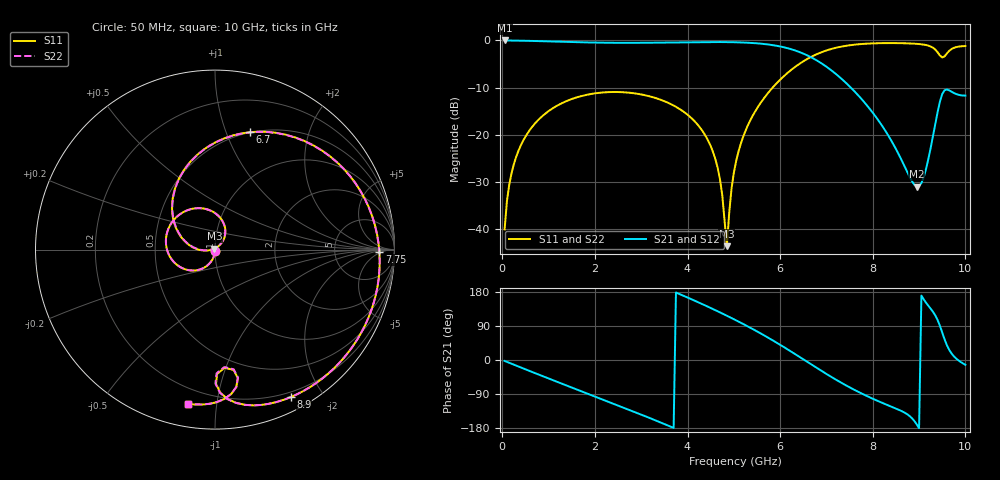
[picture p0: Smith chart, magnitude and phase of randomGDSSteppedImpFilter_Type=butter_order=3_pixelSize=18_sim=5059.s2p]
! freq	dB(S11)	phase(S11)	dB(S12)	phase(S12)
!  dB(S21)	phase(S21)	dB(S22)	phase(S22)
!S-par simulation data
#  GHz  S  DB  R 50
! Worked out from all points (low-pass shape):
!   200 points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, 50 MHz to 10 GHz, reference 50 ohm
!   highest |S21| = 0.00 dB at 50 MHz (marker M1); lowest = -31.0 dB at 8.95 GHz (marker M2)
!   |S21| within 3 dB of the highest: start of sweep to 6.551 GHz
!   lowest |S11| = -43.5 dB at 4.85 GHz (marker M3), VSWR 1.01, Z = 49.6 + j0.54 ohm
!   |S11| at or under -10 dB: start of sweep to 5.836 GHz
!   |S22| runs from -41.9 to -0.6 dB; largest |S21 - S12| = 0
!   S11 on the Smith chart (normalised r, x): 50 MHz: 1.00, -0.02; 6.7 GHz: 0.50, +1.21; 7.75 GHz: 22, -4; 8.9 GHz: 0.15, -1.63; 10 GHz: 0.12, -0.84
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0.05  -40.01 -92.2  -0.00 -2.5  -0.00 -2.5  -40.01 -92.2
0.2  -28.08 -100.1  -0.02 -9.9  -0.02 -9.9  -28.08 -100.1
0.5  -20.36 -115.2  -0.07 -24.6  -0.07 -24.6  -20.36 -115.2
1.75  -11.67 -175.3  -0.40 -84.4  -0.40 -84.4  -11.67 -175.2
2.55  -10.93 146.9  -0.51 -122.3  -0.51 -122.3  -10.93 147.0
3.4  -12.49 105.5  -0.46 -163.9  -0.46 -163.9  -12.49 105.7
4.5  -22.36 49.7  -0.34 137.3  -0.34 137.3  -22.36 50.6
4.7  -29.36 43.8  -0.34 125.7  -0.34 125.7  -29.30 46.1
4.85  -43.55 125.1  -0.35 116.8  -0.35 116.8  -41.94 124.0
4.95  -31.36 -174.2  -0.37 110.7  -0.37 110.7  -31.23 -177.3
5.05  -25.51 -174.0  -0.39 104.6  -0.39 104.6  -25.47 -175.7
5.4  -16.07 167.9  -0.54 82.2  -0.54 82.2  -16.06 167.2
6  -8.31 127.1  -1.27 40.1  -1.27 40.1  -8.30 126.8
6.7  -3.33 73.6  -3.73 -13.9  -3.73 -13.9  -3.33 73.4
7.15  -1.69 39.6  -6.67 -48.0  -6.67 -48.0  -1.69 39.4
7.75  -0.76 -0.8  -12.32 -87.9  -12.32 -87.9  -0.76 -1.0
8.35  -0.56 -34.8  -20.36 -120.5  -20.36 -120.5  -0.56 -35.0
8.9  -0.69 -62.9  -30.58 -161.4  -30.58 -161.4  -0.69 -63.0
8.95  -0.72 -65.4  -30.97 -170.1  -30.97 -170.1  -0.72 -65.6
9.15  -0.98 -76.2  -27.21 151.2  -27.21 151.2  -0.98 -76.4
9.5  -3.60 -85.4  -11.35 72.5  -11.35 72.5  -3.66 -85.4
10  -1.19 -99.8  -11.67 -12.7  -11.67 -12.7  -1.19 -99.8
